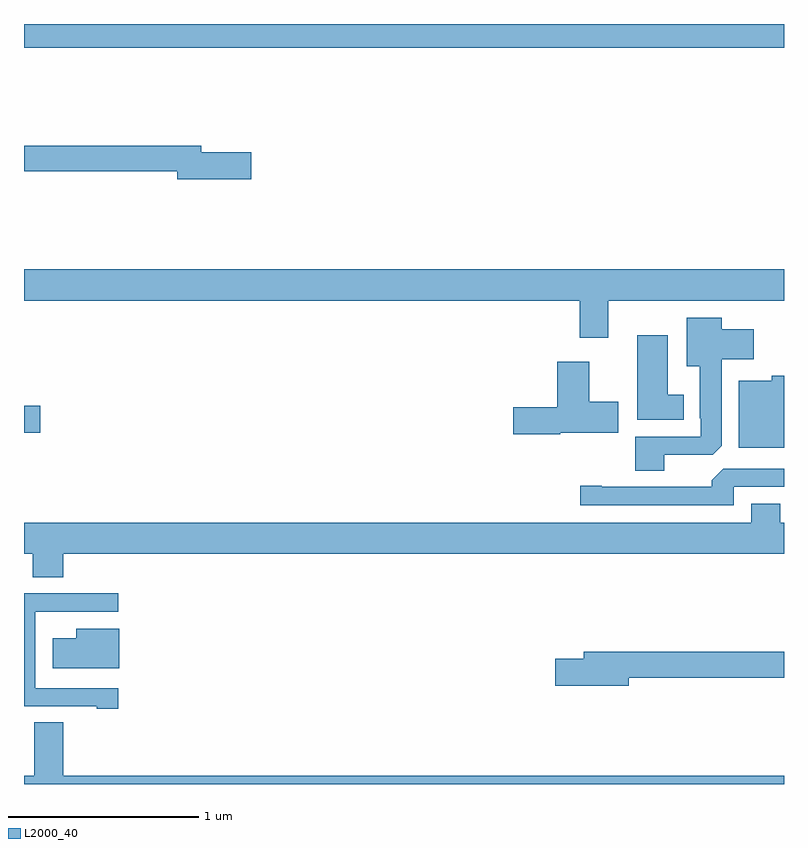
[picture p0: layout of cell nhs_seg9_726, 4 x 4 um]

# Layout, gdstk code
import gdstk
lib = gdstk.Library(unit=1e-6, precision=1e-09)
def R(c, l, rs):  # rectangles x0, y0, x1, y1
    for r in rs: c.add(gdstk.rectangle(r[:2], r[2:], *l))
def P(c, l, *ps):  # polygons
    for p in ps: c.add(gdstk.Polygon(p, *l))
L2000_40 = (2000, 40)

nhs_seg9_726 = lib.new_cell('nhs_seg9_726')
R(nhs_seg9_726, L2000_40, [(147,1238.35,147.085,1238.492), (147,1240.376,151,1240.5)])
P(nhs_seg9_726, L2000_40, [(148.195,1239.824),(147.934,1239.824),(147.934,1239.86),(147,1239.86),(147,1239.724),(147.806,1239.724),(147.806,1239.682),(148.195,1239.682)],
  [(150.076,1239.044),(151,1239.044),(151,1239.208),(147,1239.208),(147,1239.044),(149.924,1239.044),(149.924,1238.85),(150.076,1238.85)],
  [(150.37,1238.232),(150.624,1238.232),(150.673,1238.281),(150.673,1238.735),(150.841,1238.735),(150.841,1238.893),(150.673,1238.893),(150.673,1238.953),(150.488,1238.953),(150.488,1238.699),(150.557,1238.699),(150.557,1238.425),(150.561,1238.425),(150.561,1238.328),(150.218,1238.328),(150.218,1238.149),(150.37,1238.149)],
  [(150.472,1238.548),(150.388,1238.548),(150.388,1238.863),(150.227,1238.863),(150.227,1238.417),(150.472,1238.417)],
  [(149.823,1238.348),(150.127,1238.348),(150.127,1238.511),(149.974,1238.511),(149.974,1238.722),(149.807,1238.722),(149.807,1238.483),(149.574,1238.483),(149.574,1238.341),(149.823,1238.341)],
  [(151,1238.65),(150.936,1238.65),(150.936,1238.623),(150.761,1238.623),(150.761,1238.27),(151,1238.27)],
  [(150.735,1238.064),(151,1238.064),(151,1238.16),(150.681,1238.16),(150.62,1238.098),(150.62,1238.064),(150.04,1238.064),(150.04,1238.069),(149.928,1238.069),(149.928,1237.968),(150.735,1237.968)],
  [(147.206,1237.712),(151,1237.712),(151,1237.876),(150.98,1237.876),(150.98,1237.975),(150.827,1237.975),(150.827,1237.876),(147,1237.876),(147,1237.712),(147.046,1237.712),(147.046,1237.588),(147.206,1237.588)],
  [(147.496,1237.005),(147.06,1237.005),(147.06,1237.406),(147.062,1237.406),(147.062,1237.407),(147.496,1237.407),(147.496,1237.503),(147,1237.503),(147,1236.909),(147.383,1236.909),(147.383,1236.897),(147.496,1236.897)],
  [(147.502,1237.318),(147.275,1237.318),(147.275,1237.267),(147.15,1237.267),(147.15,1237.109),(147.502,1237.109)],
  [(150.184,1237.06),(151,1237.06),(151,1237.196),(149.945,1237.196),(149.945,1237.16),(149.796,1237.16),(149.796,1237.018),(150.184,1237.018)],
  [(151,1236.544),(147.206,1236.544),(147.206,1236.824),(147.053,1236.824),(147.053,1236.544),(147,1236.544),(147,1236.5),(151,1236.5)])

lib.write_gds('nhs_seg9_726.gds')
